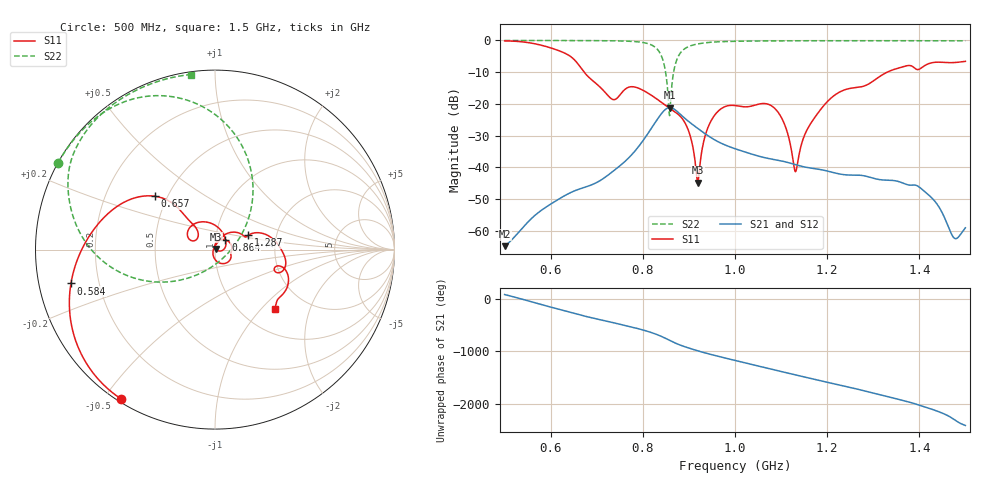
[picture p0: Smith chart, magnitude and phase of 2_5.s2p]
! TOUCHSTONE file generated by CST MICROWAVE STUDIO
! Date and time: Mon Oct 26 12:24:53 2020
! Project name: Scenario_1_Circular_Tissue_out_of_Line.cst
! Parameters = {dy1=-328.659; L_HA=400; MT=2.54; Rad_Dielectric=30; Rad_Lower=7.3; Rad_Upper=30; a_HA=580; a_WG=246; b_HA=500; b_WG=121; c_HA=0; c_WG=187; d_feed=85; dx1=866; h_feed=15; h_lower=18; h_upper=40}
! Header version: 2018
! Port assignment regex: !\s*Touchstone port\s*([0-9]+)\s*=\s*(CST MWS port|CST DS port)\s*([0-9]+|Zmin|Zmax)\s*\(\"(.*)\"\)(\s*mode\s*([0-9]+))?.*
! Touchstone port assignment:
! Touchstone port 1 = CST MWS port 1 ("")
! Touchstone port 2 = CST MWS port 2 ("")
# GHz S DB R 50
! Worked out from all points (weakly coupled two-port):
!   1001 points, 500 MHz to 1.5 GHz, reference 50 ohm
!   highest |S21| = -21.16 dB at 858 MHz (marker M1); lowest = -64.8 dB at 500 MHz (marker M2)
!   lowest |S11| = -44.9 dB at 919 MHz (marker M3), VSWR 1.01, Z = 50.5 + j0.317 ohm
!   |S11| at or under -10 dB: 672.6 MHz to 1.33 GHz (657.7 MHz wide, 65.7 % of centre)
!   |S22| runs from -23.7 to 0.0 dB; largest |S21 - S12| = 2.6e-05
!   S11 on the Smith chart (normalised r, x): 500 MHz: 0.01, -0.55; 584 MHz: 0.10, -0.11; 657 MHz: 0.43, +0.32; 864 MHz: 1.12, +0.12; 1.287 GHz: 1.43, +0.24; 1.5 GHz: 1.41, -1.19
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0.5  -0.15 -122.4  -64.84 77.5  -64.84 77.5  -0.01 151.1
0.584  -1.68 -166.8  -53.10 -122.8  -53.10 -122.8  -0.02 145.3
0.657  -7.00 138.3  -47.11 65.9  -47.11 65.9  -0.04 139.3
0.667  -8.93 132.8  -46.60 43.2  -46.60 43.2  -0.04 138.3
0.734  -18.57 143.6  -41.38 -92.1  -41.38 -92.1  -0.12 130.2
0.779  -14.60 133.8  -35.51 174.6  -35.51 174.6  -0.33 120.6
0.834  -18.84 74.7  -24.33 27.3  -24.33 27.3  -3.24 83.7
0.858  -21.37 49.8  -21.16 -70.6  -21.16 -70.6  -23.72 -51.5
0.864  -21.97 43.2  -21.34 -96.3  -21.34 -96.3  -12.79 -135.0
0.875  -23.09 29.1  -22.45 -139.2  -22.45 -139.2  -5.62 -164.7
0.897  -27.66 -6.3  -25.26 151.2  -25.26 151.2  -2.09 169.8
0.919  -44.86 33.3  -27.71 91.5  -27.71 91.5  -1.11 158.3
0.949  -25.09 67.8  -30.74 19.1  -30.74 19.1  -0.56 149.3
1  -20.51 1.9  -34.12 -91.2  -34.12 -91.2  -0.28 140.2
1.087  -21.52 -66.6  -37.59 87.5  -37.59 87.5  -0.14 130.9
1.131  -41.37 164.5  -39.15 -5.2  -39.15 -5.2  -0.11 127.1
1.167  -25.58 66.1  -40.28 -77.0  -40.28 -77.0  -0.10 124.2
1.287  -13.95 23.4  -42.89 37.2  -42.89 37.2  -0.08 115.0
1.334  -9.75 11.0  -44.05 -60.3  -44.05 -60.3  -0.09 111.4
1.418  -7.46 -18.1  -48.41 90.3  -48.41 90.3  -0.10 104.8
1.476  -6.97 -39.6  -62.32 -133.7  -62.32 -133.6  -0.12 100.0
1.5  -6.59 -44.5  -59.05 116.5  -58.95 115.3  -0.13 97.9
